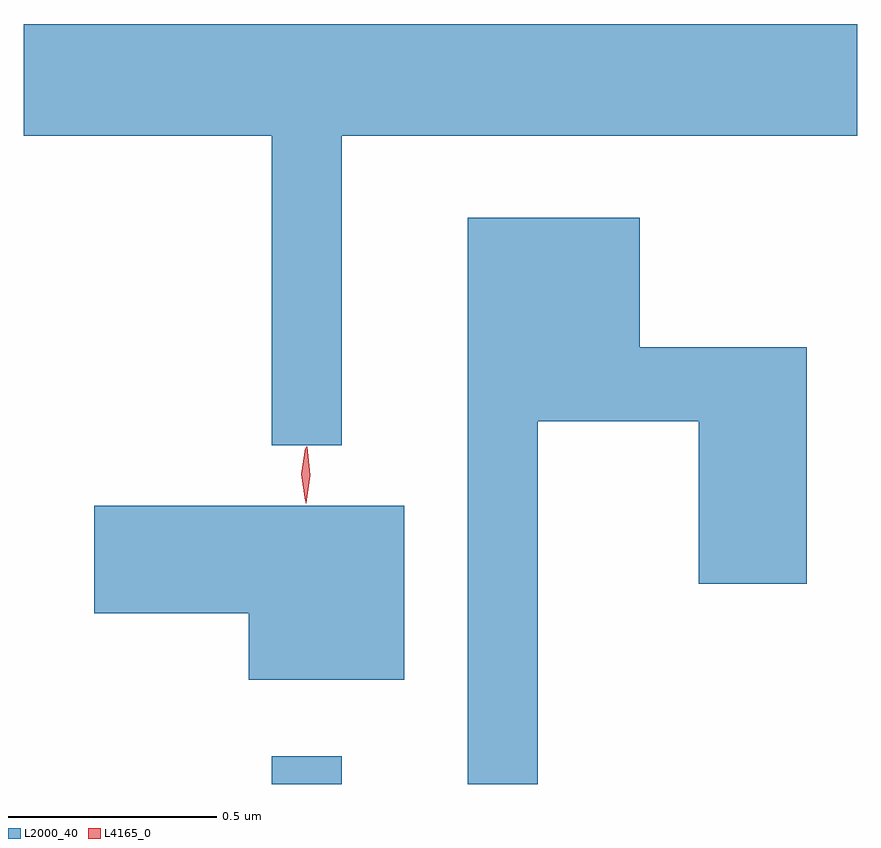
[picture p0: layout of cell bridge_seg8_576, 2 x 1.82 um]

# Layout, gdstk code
import gdstk
lib = gdstk.Library(unit=1e-6, precision=1e-09)
def R(c, l, rs):  # rectangles x0, y0, x1, y1
    for r in rs: c.add(gdstk.rectangle(r[:2], r[2:], *l))
def P(c, l, *ps):  # polygons
    for p in ps: c.add(gdstk.Polygon(p, *l))
L2000_40 = (2000, 40)
L4165_0 = (4165, 0)

bridge_seg8_576 = lib.new_cell('bridge_seg8_576')
R(bridge_seg8_576, L2000_40, [(556.121,1810.441,556.289,1810.508)])
P(bridge_seg8_576, L2000_40, [(556.289,1811.996),(557.526,1811.996),(557.526,1812.264),(555.526,1812.264),(555.526,1811.996),(556.121,1811.996),(556.121,1811.253),(556.289,1811.253)],
  [(556.759,1811.311),(557.146,1811.311),(557.146,1810.921),(557.404,1810.921),(557.404,1811.489),(557.004,1811.489),(557.004,1811.799),(556.591,1811.799),(556.591,1810.441),(556.759,1810.441)],
  [(556.439,1811.109),(555.696,1811.109),(555.696,1810.851),(556.066,1810.851),(556.066,1810.691),(556.439,1810.691)])
P(bridge_seg8_576, L4165_0, [(556.201,1811.12),(556.192,1811.184),(556.201,1811.246),(556.202,1811.247),(556.202,1811.246),(556.212,1811.184),(556.202,1811.12),(556.202,1811.12)],
  [(556.203,1811.114),(556.203,1811.114),(556.194,1811.182),(556.204,1811.25),(556.205,1811.25),(556.206,1811.25),(556.214,1811.182),(556.204,1811.114)])

lib.write_gds('bridge_seg8_576.gds')
